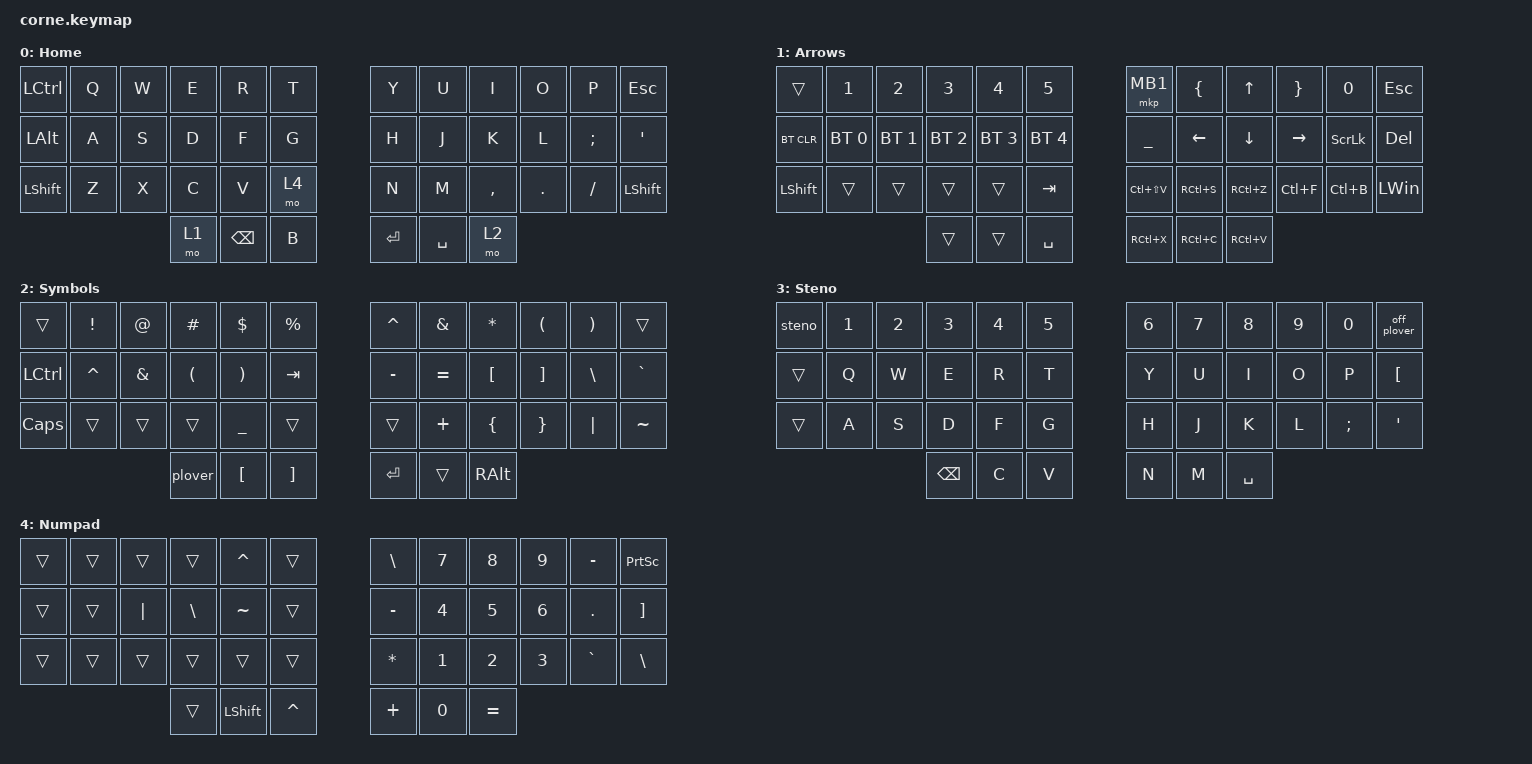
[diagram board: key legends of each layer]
/*
 * Copyright (c) 2020 The ZMK Contributors
 *
 * SPDX-License-Identifier: MIT
 */

#include <behaviors.dtsi>
#include <dt-bindings/zmk/bt.h>
#include <dt-bindings/zmk/keys.h>
#include <dt-bindings/zmk/pointing.h>

/ {
    macros {
        plover: plover {
            compatible = "zmk,behavior-macro";
            #binding-cells = <0>;
            bindings =
                <&to 3>,
                <&macro_press>,
                <&kp E &kp R &kp F &kp V &kp O &kp L>,
                <&macro_release>,
                <&kp E &kp R &kp F &kp V &kp O &kp L>;

            label = "PLOVER";
            wait-ms = <5>;
            tap-ms = <5>;
        };

        off_plover: off_plover {
            compatible = "zmk,behavior-macro";
            #binding-cells = <0>;
            bindings =
                <&to 0>,
                <&macro_press>,
                <&kp E &kp R &kp F &kp V &kp O &kp L>,
                <&macro_release>,
                <&kp E &kp R &kp F &kp V &kp O &kp L>;

            label = "OFF_PLOVER";
            wait-ms = <5>;
            tap-ms = <5>;
        };

        steno: steno {
            compatible = "zmk,behavior-macro";
            #binding-cells = <0>;
            bindings =
                <&macro_press>,
                <&kp E &kp R &kp F &kp V &kp O &kp L>,
                <&macro_release>,
                <&kp E &kp R &kp F &kp V &kp O &kp L>;

            label = "STENO";
            wait-ms = <5>;
            tap-ms = <5>;
        };

        steno_caps: steno_caps {
            compatible = "zmk,behavior-macro";
            #binding-cells = <0>;
            bindings = <&macro_press>, <&kp K &kp P &kp A>, <&macro_release>;

            label = "STENO_CAPS";
        };

        double_delete: double_delete {
            compatible = "zmk,behavior-macro";
            #binding-cells = <0>;
            bindings = <&kp BACKSPACE &kp BACKSPACE>;
            label = "DOUBLE_DELETE";
        };

        f12_mo4: f12_mo4 {
            compatible = "zmk,behavior-macro";
            #binding-cells = <0>;
            bindings =
                <&macro_tap>,
                <&kp PAUSE_BREAK>,
                <&macro_press>,
                <&mo 4>,
                <&macro_pause_for_release>,
                <&macro_release>,
                <&mo 4>;

            label = "F12_MO4";
        };
    };

    keymap {
        compatible = "zmk,keymap";

        default_layer {
            label = "Home";
            bindings = <
&kp LEFT_CONTROL  &kp Q  &kp W  &kp E  &kp R          &kp T    &kp Y      &kp U      &kp I      &kp O    &kp P     &kp ESCAPE
&kp LEFT_ALT      &kp A  &kp S  &kp D  &kp F          &kp G    &kp H      &kp J      &kp K      &kp L    &kp SEMI  &kp SQT
&kp LSHFT         &kp Z  &kp X  &kp C  &kp V          &mo 4    &kp N      &kp M      &kp COMMA  &kp DOT  &kp FSLH  &kp LEFT_SHIFT
                                &mo 1  &kp BACKSPACE  &kp B    &kp ENTER  &kp SPACE  &mo 2
            >;
        };

        lower_layer {
            label = "Arrows";
            bindings = <
&trans      &kp N1        &kp N2        &kp N3        &kp N4        &kp N5          &mkp MB1       &kp LEFT_BRACE  &kp UP_ARROW    &kp RIGHT_BRACE  &kp N0          &kp ESCAPE
&bt BT_CLR  &bt BT_SEL 0  &bt BT_SEL 1  &bt BT_SEL 2  &bt BT_SEL 3  &bt BT_SEL 4    &kp UNDER      &kp LEFT        &kp DOWN_ARROW  &kp RIGHT        &kp SCROLLLOCK  &kp DELETE
&kp LSHFT   &trans        &trans        &trans        &trans        &kp TAB         &kp LC(LS(V))  &kp RC(S)       &kp RC(Z)       &kp LC(F)        &kp LC(B)       &kp LEFT_WIN
                                        &trans        &trans        &kp SPACE       &kp RC(X)      &kp RC(C)       &kp RC(V)
            >;
        };

        raise_layer {
            label = "Symbols";
            bindings = <
&trans     &kp EXCL   &kp AT    &kp HASH              &kp DLLR               &kp PRCNT            &kp CARET  &kp AMPS   &kp ASTRK  &kp LPAR  &kp RPAR  &trans
&kp LCTRL  &kp CARET  &kp AMPS  &kp LEFT_PARENTHESIS  &kp RIGHT_PARENTHESIS  &kp TAB              &kp MINUS  &kp EQUAL  &kp LBKT   &kp RBKT  &kp BSLH  &kp GRAVE
&kp CAPS   &trans     &trans    &trans                &kp UNDER              &trans               &trans     &kp PLUS   &kp LBRC   &kp RBRC  &kp PIPE  &kp TILDE
                                &plover               &kp LEFT_BRACKET       &kp RIGHT_BRACKET    &kp RET    &trans     &kp RALT
            >;
        };

        Steno {
            label = "Steno";
            bindings = <
&steno  &kp NUMBER_1  &kp NUMBER_2  &kp NUMBER_3   &kp NUMBER_4  &kp N5    &kp NUMBER_6  &kp N7  &kp N8     &kp N9  &kp N0         &off_plover
&trans  &kp Q         &kp W         &kp E          &kp R         &kp T     &kp Y         &kp U   &kp I      &kp O   &kp P          &kp LEFT_BRACKET
&trans  &kp A         &kp S         &kp D          &kp F         &kp G     &kp H         &kp J   &kp K      &kp L   &kp SEMICOLON  &kp SQT
                                    &kp BACKSPACE  &kp C         &kp V     &kp N         &kp M   &kp SPACE
            >;
        };

        Numpad {
            label = "Numpad";
            bindings = <
&trans  &trans  &trans    &trans         &kp CARET       &trans       &kp BACKSLASH  &kp N7        &kp N8        &kp N9        &kp MINUS   &kp PSCRN
&trans  &trans  &kp PIPE  &kp BACKSLASH  &kp TILDE       &trans       &kp MINUS      &kp NUMBER_4  &kp N5        &kp NUMBER_6  &kp PERIOD  &kp RIGHT_BRACKET
&trans  &trans  &trans    &trans         &trans          &trans       &kp ASTRK      &kp NUMBER_1  &kp NUMBER_2  &kp NUMBER_3  &kp GRAVE   &kp BACKSLASH
                          &trans         &kp LEFT_SHIFT  &kp CARET    &kp PLUS       &kp N0        &kp EQUAL
            >;
        };
    };
};
